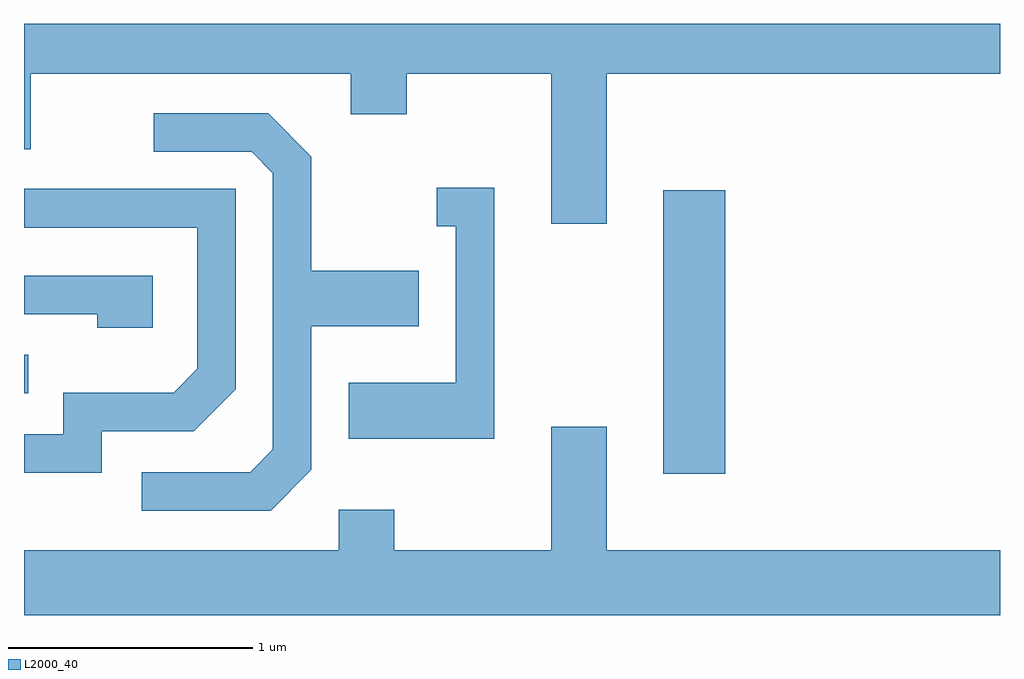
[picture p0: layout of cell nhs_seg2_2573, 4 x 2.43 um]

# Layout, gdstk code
import gdstk
lib = gdstk.Library(unit=1e-6, precision=1e-09)
def R(c, l, rs):  # rectangles x0, y0, x1, y1
    for r in rs: c.add(gdstk.rectangle(r[:2], r[2:], *l))
def P(c, l, *ps):  # polygons
    for p in ps: c.add(gdstk.Polygon(p, *l))
L2000_40 = (2000, 40)

nhs_seg2_2573 = lib.new_cell('nhs_seg2_2573')
R(nhs_seg2_2573, L2000_40, [(262.231,1099.956,262.484,1101.119), (259.611,1100.286,259.628,1100.444)])
P(nhs_seg2_2573, L2000_40, [(261.999,1101.596),(263.611,1101.596),(263.611,1101.802),(259.611,1101.802),(259.611,1101.286),(259.639,1101.286),(259.639,1101.596),(260.951,1101.596),(260.951,1101.431),(261.179,1101.431),(261.179,1101.596),(261.771,1101.596),(261.771,1100.981),(261.999,1100.981)],
  [(260.789,1099.974),(260.789,1100.561),(261.229,1100.561),(261.229,1100.789),(260.789,1100.789),(260.789,1101.257),(260.611,1101.434),(260.142,1101.434),(260.142,1101.276),(260.544,1101.276),(260.631,1101.189),(260.631,1100.057),(260.539,1099.964),(260.093,1099.964),(260.093,1099.806),(260.622,1099.806)],
  [(261.539,1101.129),(261.303,1101.129),(261.303,1100.971),(261.381,1100.971),(261.381,1100.329),(260.941,1100.329),(260.941,1100.101),(261.539,1100.101)],
  [(259.929,1100.131),(260.307,1100.131),(260.479,1100.304),(260.479,1101.124),(259.611,1101.124),(259.611,1100.966),(260.321,1100.966),(260.321,1100.387),(260.224,1100.289),(259.771,1100.289),(259.771,1100.119),(259.611,1100.119),(259.611,1099.961),(259.929,1099.961)],
  [(260.139,1100.769),(259.611,1100.769),(259.611,1100.611),(259.911,1100.611),(259.911,1100.556),(260.139,1100.556)],
  [(263.611,1099.644),(261.999,1099.644),(261.999,1100.149),(261.771,1100.149),(261.771,1099.644),(261.129,1099.644),(261.129,1099.809),(260.901,1099.809),(260.901,1099.644),(259.611,1099.644),(259.611,1099.376),(263.611,1099.376)])

lib.write_gds('nhs_seg2_2573.gds')
